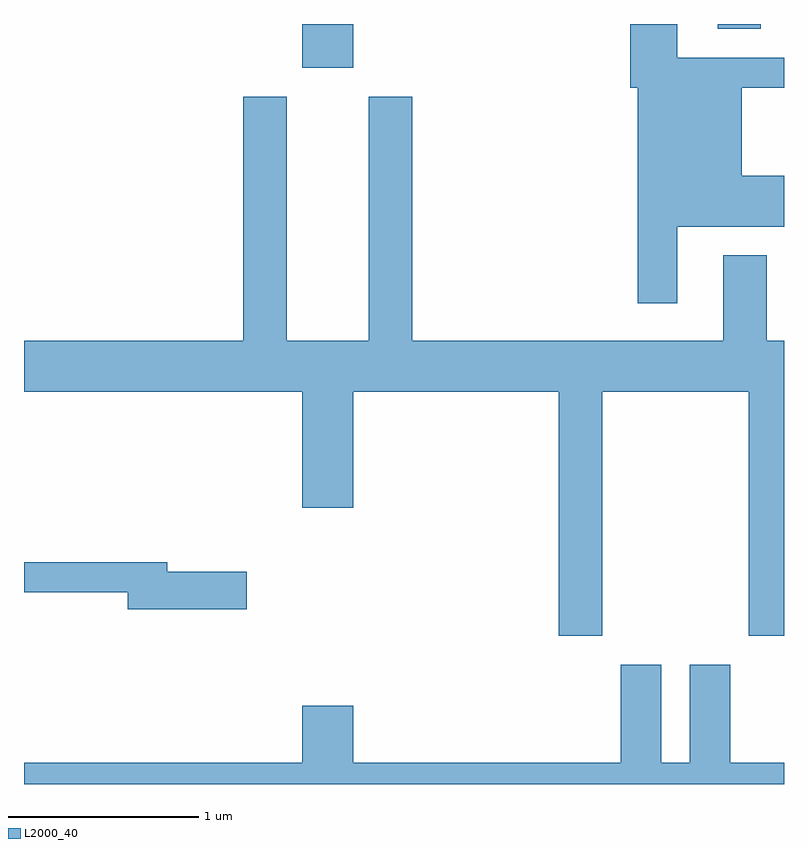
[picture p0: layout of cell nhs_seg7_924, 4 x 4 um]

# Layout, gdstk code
import gdstk
lib = gdstk.Library(unit=1e-6, precision=1e-09)
def R(c, l, rs):  # rectangles x0, y0, x1, y1
    for r in rs: c.add(gdstk.rectangle(r[:2], r[2:], *l))
def P(c, l, *ps):  # polygons
    for p in ps: c.add(gdstk.Polygon(p, *l))
L2000_40 = (2000, 40)

nhs_seg7_924 = lib.new_cell('nhs_seg7_924')
R(nhs_seg7_924, L2000_40, [(215.076,1716.021,215.344,1716.252), (217.261,1716.226,217.489,1716.252)])
P(nhs_seg7_924, L2000_40, [(217.049,1715.186),(217.611,1715.186),(217.611,1715.454),(217.389,1715.454),(217.389,1715.916),(217.611,1715.916),(217.611,1716.074),(217.049,1716.074),(217.049,1716.252),(216.801,1716.252),(216.801,1715.916),(216.841,1715.916),(216.841,1714.781),(217.049,1714.781)],
  [(216.654,1714.316),(217.426,1714.316),(217.426,1713.031),(217.611,1713.031),(217.611,1714.584),(217.519,1714.584),(217.519,1715.034),(217.291,1715.034),(217.291,1714.584),(215.654,1714.584),(215.654,1715.869),(215.426,1715.869),(215.426,1714.584),(214.994,1714.584),(214.994,1715.869),(214.766,1715.869),(214.766,1714.584),(213.611,1714.584),(213.611,1714.316),(215.076,1714.316),(215.076,1713.706),(215.344,1713.706),(215.344,1714.316),(216.426,1714.316),(216.426,1713.031),(216.654,1713.031)],
  [(214.784,1713.369),(214.364,1713.369),(214.364,1713.419),(213.611,1713.419),(213.611,1713.261),(214.156,1713.261),(214.156,1713.171),(214.784,1713.171)],
  [(217.611,1712.364),(217.329,1712.364),(217.329,1712.879),(217.116,1712.879),(217.116,1712.364),(216.964,1712.364),(216.964,1712.879),(216.751,1712.879),(216.751,1712.364),(215.344,1712.364),(215.344,1712.664),(215.076,1712.664),(215.076,1712.364),(213.611,1712.364),(213.611,1712.252),(217.611,1712.252)])

lib.write_gds('nhs_seg7_924.gds')
